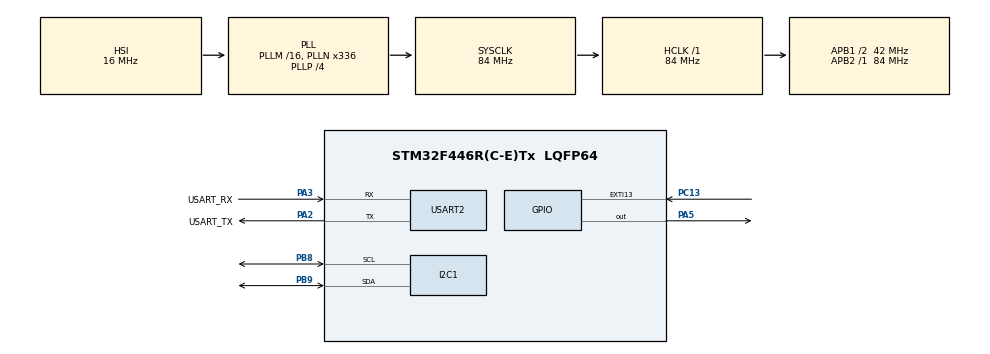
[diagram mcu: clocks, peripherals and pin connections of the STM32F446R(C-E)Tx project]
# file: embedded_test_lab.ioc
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Mcu.Family=STM32F4
Mcu.Name=STM32F446R(C-E)Tx
Mcu.Package=LQFP64
NUCLEO-F446RE.BUTTON=1
NUCLEO-F446RE.LD1=true
NVIC.EXTI15_10_IRQn=true\:0\:0\:false\:false\:true\:false\:true\:true
NVIC.PriorityGroup=NVIC_PRIORITYGROUP_0
PA13.GPIO_Label=TMS
PA13.Signal=SYS_JTMS-SWDIO
PA14.GPIO_Label=TCK
PA14.Signal=SYS_JTCK-SWCLK
PA2.GPIO_Label=USART_TX
PA2.Mode=Asynchronous
PA2.Signal=USART2_TX
PA3.GPIO_Label=USART_RX
PA3.Mode=Asynchronous
PA3.Signal=USART2_RX
PA5.Signal=GPIO_Output
PB3.GPIO_Label=SWO
PB3.Signal=SYS_JTDO-SWO
PB8.Mode=I2C
PB8.Signal=I2C1_SCL
PB9.Mode=I2C
PB9.Signal=I2C1_SDA
PC13.Signal=GPXTI13
PC14-OSC32_IN.Signal=RCC_OSC32_IN
PC15-OSC32_OUT.Signal=RCC_OSC32_OUT
PH0-OSC_IN.Signal=RCC_OSC_IN
PH1-OSC_OUT.Signal=RCC_OSC_OUT
ProjectManager.HeapSize=0x200
ProjectManager.StackSize=0x400
ProjectManager.TargetToolchain=STM32CubeIDE
RCC.AHBFreq_Value=84000000
RCC.APB1CLKDivider=RCC_HCLK_DIV2
RCC.APB1Freq_Value=42000000
RCC.APB1TimFreq_Value=84000000
RCC.APB2Freq_Value=84000000
RCC.APB2TimFreq_Value=84000000
RCC.CortexFreq_Value=84000000
RCC.FLatency-AdvancedSettings=FLASH_LATENCY_2
RCC.HCLKFreq_Value=84000000
RCC.HSE_VALUE=8000000
RCC.HSI_VALUE=16000000
RCC.LSE_VALUE=32768
RCC.PLLN=336
RCC.PLLP=RCC_PLLP_DIV4
RCC.SYSCLKFreq_VALUE=84000000
RCC.SYSCLKSource=RCC_SYSCLKSOURCE_PLLCLK
RCC.USBFreq_Value=168000000
RCC.VCOOutputFreq_Value=336000000
USART2.VirtualMode=VM_ASYNC
VP_NUCLEO-F446RE_VS_BSP_COMMON.Mode=COMMON
board=NUCLEO-F446RE

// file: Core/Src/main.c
/* USER CODE BEGIN Header */
/**
 ******************************************************************************
 * @file           : main.c
 * @brief          : Main program body
 ******************************************************************************
 * @attention
 *
 * Copyright (c) 2026 STMicroelectronics.
 * All rights reserved.
 *
 * This software is licensed under terms that can be found in the LICENSE file
 * in the root directory of this software component.
 * If no LICENSE file comes with this software, it is provided AS-IS.
 *
 ******************************************************************************
 */
/* USER CODE END Header */
#include "main.h"

/* USER CODE BEGIN Includes */
#include <string.h>
#include <stdio.h>
#include "ssd1306.h"
/* USER CODE END Includes */

/* USER CODE BEGIN PD */
#define DEFAULT_TEMPERATURE 20
#define DEFAULT_LIMIT       80
/* USER CODE END PD */

I2C_HandleTypeDef hi2c1;

UART_HandleTypeDef huart2;

/* USER CODE BEGIN PV */
uint8_t rx_byte;
char rx_buffer[64];
uint8_t rx_index = 0;

uint8_t all_on[] = {0xA5};

static int temperature = DEFAULT_TEMPERATURE;
static int limit = DEFAULT_LIMIT;
static char status[32] = "READY";

// FAULT INJECTION
static uint32_t response_delay_ms = 0;
/* USER CODE END PV */

void SystemClock_Config(void);
static void MX_GPIO_Init(void);
static void MX_USART2_UART_Init(void);
static void MX_I2C1_Init(void);
/* USER CODE BEGIN PFP */
void process_command(char *);
void send_response(char *);
static void reset_state(void);
static void update_display(void);
/* USER CODE END PFP */

int main(void)
{

  /* MCU Configuration--------------------------------------------------------*/

  /* Reset of all peripherals, Initializes the Flash interface and the Systick. */
  HAL_Init();

  /* Configure the system clock */
  SystemClock_Config();

  /* Initialize all configured peripherals */
  MX_GPIO_Init();
  MX_USART2_UART_Init();
  MX_I2C1_Init();
  /* USER CODE BEGIN 2 */
  SSD1306_Init(&hi2c1);
  update_display();

  char msg[] = "BOOT\r\n";
  HAL_UART_Transmit(&huart2, (uint8_t*) msg, strlen(msg), HAL_MAX_DELAY);
  /* USER CODE END 2 */

  /* Initialize leds */
  BSP_LED_Init(LED2);

  /* Initialize USER push-button, will be used to trigger an interrupt each time it's pressed.*/
  BSP_PB_Init(BUTTON_USER, BUTTON_MODE_EXTI);

  /* Infinite loop */
	while (1) {

	/* USER CODE BEGIN 3 */
		if (HAL_UART_Receive(&huart2, &rx_byte, 1, HAL_MAX_DELAY) == HAL_OK) {
			if (rx_byte == '\r' || rx_byte == '\n') {
				if (rx_index > 0) {
					rx_buffer[rx_index] = '\0';

					process_command(rx_buffer);

					rx_index = 0;
				}
			} else {
				if (rx_index < sizeof(rx_buffer) - 1) {
					rx_buffer[rx_index++] = rx_byte;
				} else {
					/* Buffer overflow - discard current command */
					rx_index = 0;
				}
			}
		}
	}

	/* USER CODE END 3 */
}

void SystemClock_Config(void)
{
  RCC_OscInitTypeDef RCC_OscInitStruct = {0};
  RCC_ClkInitTypeDef RCC_ClkInitStruct = {0};

  /** Configure the main internal regulator output voltage
  */
  __HAL_RCC_PWR_CLK_ENABLE();
  __HAL_PWR_VOLTAGESCALING_CONFIG(PWR_REGULATOR_VOLTAGE_SCALE3);

  /** Initializes the RCC Oscillators according to the specified parameters
  * in the RCC_OscInitTypeDef structure.
  */
  RCC_OscInitStruct.OscillatorType = RCC_OSCILLATORTYPE_HSI;
  RCC_OscInitStruct.HSIState = RCC_HSI_ON;
  RCC_OscInitStruct.HSICalibrationValue = RCC_HSICALIBRATION_DEFAULT;
  RCC_OscInitStruct.PLL.PLLState = RCC_PLL_ON;
  RCC_OscInitStruct.PLL.PLLSource = RCC_PLLSOURCE_HSI;
  RCC_OscInitStruct.PLL.PLLM = 16;
  RCC_OscInitStruct.PLL.PLLN = 336;
  RCC_OscInitStruct.PLL.PLLP = RCC_PLLP_DIV4;
  RCC_OscInitStruct.PLL.PLLQ = 2;
  RCC_OscInitStruct.PLL.PLLR = 2;
  if (HAL_RCC_OscConfig(&RCC_OscInitStruct) != HAL_OK)
  {
    Error_Handler();
  }

  /** Initializes the CPU, AHB and APB buses clocks
  */
  RCC_ClkInitStruct.ClockType = RCC_CLOCKTYPE_HCLK|RCC_CLOCKTYPE_SYSCLK
                              |RCC_CLOCKTYPE_PCLK1|RCC_CLOCKTYPE_PCLK2;
  RCC_ClkInitStruct.SYSCLKSource = RCC_SYSCLKSOURCE_PLLCLK;
  RCC_ClkInitStruct.AHBCLKDivider = RCC_SYSCLK_DIV1;
  RCC_ClkInitStruct.APB1CLKDivider = RCC_HCLK_DIV2;
  RCC_ClkInitStruct.APB2CLKDivider = RCC_HCLK_DIV1;

  if (HAL_RCC_ClockConfig(&RCC_ClkInitStruct, FLASH_LATENCY_2) != HAL_OK)
  {
    Error_Handler();
  }
}

static void MX_I2C1_Init(void)
{

  hi2c1.Instance = I2C1;
  hi2c1.Init.ClockSpeed = 100000;
  hi2c1.Init.DutyCycle = I2C_DUTYCYCLE_2;
  hi2c1.Init.OwnAddress1 = 0;
  hi2c1.Init.AddressingMode = I2C_ADDRESSINGMODE_7BIT;
  hi2c1.Init.DualAddressMode = I2C_DUALADDRESS_DISABLE;
  hi2c1.Init.OwnAddress2 = 0;
  hi2c1.Init.GeneralCallMode = I2C_GENERALCALL_DISABLE;
  hi2c1.Init.NoStretchMode = I2C_NOSTRETCH_DISABLE;
  if (HAL_I2C_Init(&hi2c1) != HAL_OK)
  {
    Error_Handler();
  }

}

static void MX_USART2_UART_Init(void)
{

  huart2.Instance = USART2;
  huart2.Init.BaudRate = 115200;
  huart2.Init.WordLength = UART_WORDLENGTH_8B;
  huart2.Init.StopBits = UART_STOPBITS_1;
  huart2.Init.Parity = UART_PARITY_NONE;
  huart2.Init.Mode = UART_MODE_TX_RX;
  huart2.Init.HwFlowCtl = UART_HWCONTROL_NONE;
  huart2.Init.OverSampling = UART_OVERSAMPLING_16;
  if (HAL_UART_Init(&huart2) != HAL_OK)
  {
    Error_Handler();
  }

}

static void MX_GPIO_Init(void)
{

  /* GPIO Ports Clock Enable */
  __HAL_RCC_GPIOC_CLK_ENABLE();
  __HAL_RCC_GPIOH_CLK_ENABLE();
  __HAL_RCC_GPIOA_CLK_ENABLE();
  __HAL_RCC_GPIOB_CLK_ENABLE();

}

/* USER CODE BEGIN 4 */
void process_command(char *rx_buffer){

	if (strcmp(rx_buffer, "PING") == 0) {
		char response[] = "PONG\r\n";

		send_response(response);
	} else if (strcmp(rx_buffer, "GET_TEMP") == 0) {
		char response[32];

		snprintf(response, sizeof(response), "TEMP:%d\r\n",
				temperature);

		send_response(response);
	} else if (strncmp(rx_buffer, "SET_TEMP:", 9) == 0) {
		int new_temperature;

		if (sscanf(rx_buffer + 9, "%d", &new_temperature) == 1 ) {
			if (new_temperature <= limit) {
				temperature = new_temperature;
				update_display();
				send_response("OK\r\n");
			} else {
				send_response("ERR:OUT_OF_RANGE\r\n");
			}
		} else {
			send_response("ERR:INVALID_VALUE\r\n");
		}
	} else if (strcmp(rx_buffer, "GET_STATUS") == 0) {
		char response[32];

		snprintf(response, sizeof(response), "STATUS:%s\r\n", status);

		send_response(response);

	} else if (strncmp(rx_buffer, "SET_STATUS:", 11) == 0) {
		const char *new_status = rx_buffer + 11;

		if (strlen(new_status) > 0 &&
		    strlen(new_status) < sizeof(status))
		{
		    strcpy(status, new_status);
		    update_display();
		    send_response("OK\r\n");
		}
		else
		{
		    send_response("ERR:INVALID_VALUE\r\n");
		}

	} else if (strcmp(rx_buffer, "GET_LIMIT") == 0) {
		char response[32];

		snprintf(response, sizeof(response), "LIMIT:%d\r\n",
				limit);

		send_response(response);
	} else if (strncmp(rx_buffer, "SET_LIMIT:", 10) == 0) {
		int new_limit;

		if (sscanf(rx_buffer + 10, "%d", &new_limit) == 1 ) {
			limit = new_limit;
			update_display();
			send_response("OK\r\n");
		} else {
			send_response("ERR:INVALID_VALUE\r\n");
		}
	} else if (strcmp(rx_buffer, "RESET") == 0) {
		reset_state();
		update_display();
		send_response("OK\r\n");
	} else if (strncmp(rx_buffer, "FIT_DELAY:", 10) == 0) {
		char response[32];
		int new_delay;

		if (sscanf(rx_buffer + 10, "%d", &new_delay) == 1 ) {
			snprintf(response, sizeof(response), "FIT_LIMIT:%d\r\n",
					new_delay);

			send_response(response);
			response_delay_ms = new_delay;
		} else {
			send_response("ERR:INVALID_VALUE\r\n");
		}
	}
}

void send_response(char *response){
	if (response_delay_ms > 0){
		HAL_Delay(response_delay_ms);
	}
	HAL_UART_Transmit(&huart2, (uint8_t*) response,
								strlen(response),
								HAL_MAX_DELAY);
	return;
}

static void reset_state(void){
    temperature = DEFAULT_TEMPERATURE;
    limit = DEFAULT_LIMIT;
    strcpy(status, "READY");

    response_delay_ms = 0;
}

static void update_display(void)
{
    char line[32];

    SSD1306_Clear();

    snprintf(line, sizeof(line), "TEMP   : %d", temperature);
    SSD1306_SetCursor(0, 0);
    SSD1306_WriteString(line);

    snprintf(line, sizeof(line), "LIMIT  : %d", limit);
    SSD1306_SetCursor(0, 16);
    SSD1306_WriteString(line);

    SSD1306_SetCursor(0, 32);
    SSD1306_WriteString("STATUS :");

    SSD1306_SetCursor(0, 48);
    SSD1306_WriteString(status);

    SSD1306_UpdateScreen();
}

/* USER CODE END 4 */

void Error_Handler(void)
{
	__disable_irq();
	while (1) {
	}
}
